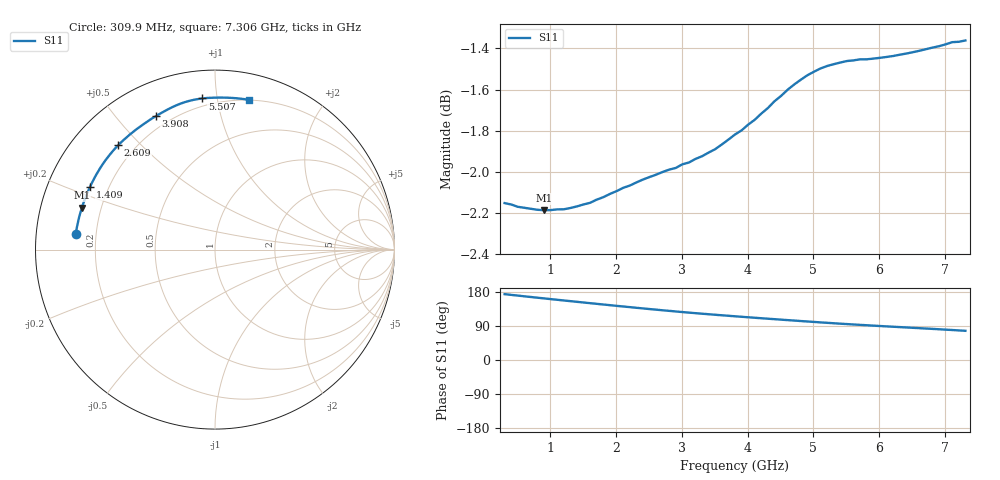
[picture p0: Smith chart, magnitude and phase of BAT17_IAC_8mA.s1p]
! Infineon Technologies  Discrete & RF Semiconductors
! BAT17
! IAC = 8 mA
! One-Port S-Parameters
# Hz  S  MA  R  50
!f  S11
!Hz  Mag  Ang
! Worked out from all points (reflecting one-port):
!   71 points, 309.9 MHz to 7.306 GHz, reference 50 ohm
!   lowest |S11| = -2.2 dB at 909.5 MHz (marker M1), VSWR 7.99, Z = 6.41 + j7.55 ohm
!   phase of S11 starts at 174 deg and turns -97 deg over the sweep
!   S11 on the Smith chart (normalised r, x): 309.9 MHz: 0.12, +0.05; 1.409 GHz: 0.13, +0.23; 2.609 GHz: 0.14, +0.43; 3.908 GHz: 0.15, +0.64; 5.507 GHz: 0.15, +0.91; 7.306 GHz: 0.20, +1.24
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3.0985e8  0.7805 173.8
6.097e8  0.7785 168.1
9.0955e8  0.7774 162.6
1.0095e9  0.7775 160.7
1.2094e9  0.7778 157.1
1.4093e9  0.7791 153.5
1.70915e9  0.7821 148.2
1.90905e9  0.7845 144.7
2.10895e9  0.7872 141.2
2.30885e9  0.7896 137.8
2.50875e9  0.792 134.5
2.6087e9  0.793 132.9
2.70865e9  0.7942 131.2
3.0085e9  0.7976 126.5
3.30835e9  0.8013 122.1
3.8081e9  0.8111 115.4
3.90805e9  0.813 114.1
4.4078e9  0.8263 107.7
4.70765e9  0.8341 104.1
4.90755e9  0.8384 101.6
5.10745e9  0.8416 99.2
5.4073e9  0.8444 95.8
5.50725e9  0.8451 94.8
5.6072e9  0.8454 93.7
6.007e9  0.8466 89.7
6.50675e9  0.8493 84.9
7.10645e9  0.8541 79.2
7.30635e9  0.8549 77.1
